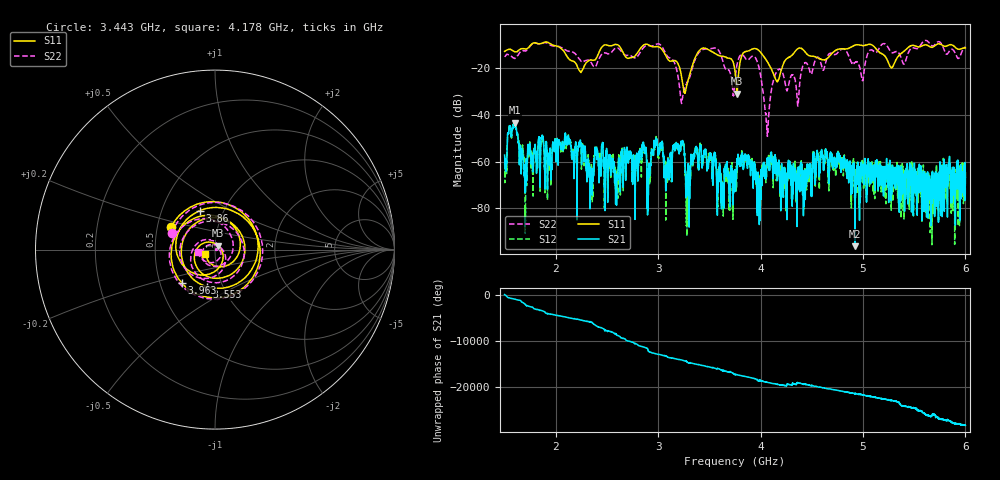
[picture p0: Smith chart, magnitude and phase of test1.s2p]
!Keysight Technologies N9923A: A.08.15
!Date: Monday, 19 February 2024 15:46:54
!Timezone: (GMT-05:00) Eastern Time (US & Canada)
!Model: N9923A
!Serial: MY52412730
!GPS Latitude:
!GPS Longitude:
!GPS TimeStamp: 0001-01-01 00:00:00Z
!GPS Seconds Since Last Read: 0
!CHECKSUM:1163614214
!Correction: S11(ON Q)S21(ON Q)S12(ON Q)S22(ON Q)
!S2P File: Measurements:S11,S21,S12,S22:
# Hz S DB R 50
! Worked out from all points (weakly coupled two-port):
!   4001 points, 1.5 GHz to 6 GHz, reference 50 ohm
!   highest |S21| = -43.28 dB at 1.602 GHz (marker M1); lowest = -96.4 dB at 4.923 GHz (marker M2)
!   lowest |S11| = -30.8 dB at 3.769 GHz (marker M3), VSWR 1.06, Z = 51.7 + j2.36 ohm
!   |S11| at or under -10 dB: 1.975 GHz to 2.47 GHz (495.6 MHz wide, 22.3 % of centre); 2.912 GHz to 4.919 GHz (2.006 GHz wide, 51.2 % of centre); 5.092 GHz to 5.591 GHz (498.8 MHz wide, 9.34 % of centre) (the widest 3 of 11)
!   |S22| runs from -49.2 to -8.0 dB; largest |S21 - S12| = 0.0012
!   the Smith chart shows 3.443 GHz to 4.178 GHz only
!   S11 on the Smith chart (normalised r, x): 3.443 GHz: 0.59, +0.16; 3.553 GHz: 0.84, -0.37; 3.86 GHz: 0.78, +0.36; 3.963 GHz: 0.65, -0.26; 4.178 GHz: 0.90, -0.05
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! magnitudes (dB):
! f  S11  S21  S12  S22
! 1.5 GHz  -12.7  -57.2  -60.8  -15.0
! 1.602 GHz  -12.9  -43.3  -43.9  -15.7
! 1.702 GHz  -11.6  -70.3  -79.2  -12.5
! 2.25 GHz  -21.3  -57.9  -63.3  -17.0
! 2.586 GHz  -9.6  -68.0  -68.1  -11.2
! 3.001 GHz  -10.6  -56.1  -56.4  -9.4
! 3.079 GHz  -14.9  -63.8  -64.1  -14.1
! 3.232 GHz  -24.7  -53.0  -52.7  -33.8
! 3.29 GHz  -25.3  -63.5  -65.4  -25.5
! 3.443 GHz  -11.2  -58.4  -58.2  -11.8
! 3.553 GHz  -13.5  -57.8  -57.3  -11.2
! 3.75 GHz  -21.1  -65.2  -67.0  -24.8
! 3.769 GHz  -30.8  -63.5  -65.0  -18.5
! 3.86 GHz  -12.7  -57.9  -60.0  -16.1
! 3.963 GHz  -11.6  -70.7  -72.6  -16.6
! 4.063 GHz  -16.9  -60.5  -59.3  -46.1
! 4.178 GHz  -24.6  -59.4  -59.7  -20.4
! 4.361 GHz  -11.6  -64.3  -66.8  -35.3
! 4.5 GHz  -14.7  -70.0  -68.7  -22.1
! 4.923 GHz  -9.9  -96.4  -63.4  -17.4
! 5.251 GHz  -17.7  -77.6  -71.2  -11.3
! 6 GHz  -11.1  -66.7  -64.2  -10.7
